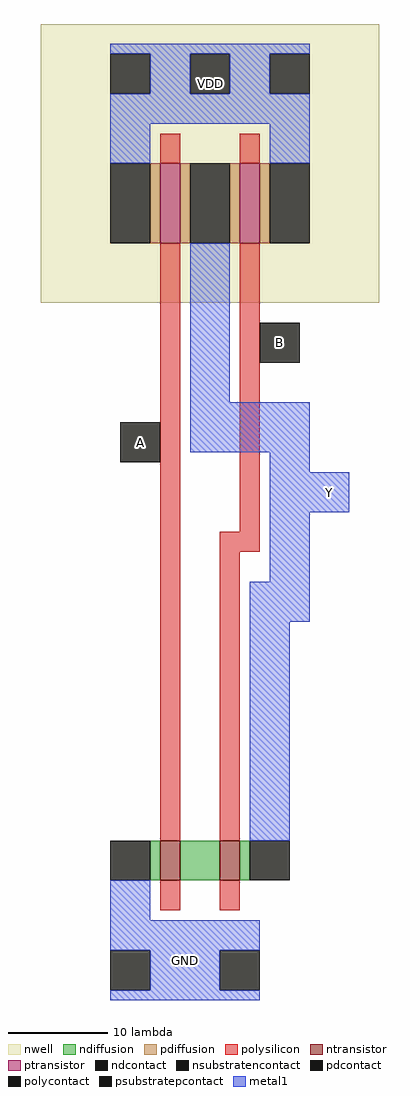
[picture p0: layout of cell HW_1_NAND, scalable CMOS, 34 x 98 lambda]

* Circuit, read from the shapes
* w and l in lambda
.subckt HW_1_NAND A B GND VDD Y
M1 n1 A GND GND nfet w=4 l=2
M2 Y B n1 GND nfet w=4 l=2
M3 Y A VDD VDD pfet w=8 l=2
M4 VDD B Y VDD pfet w=8 l=2
.ends

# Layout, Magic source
magic
tech scmos
<< nwell >>
rect -17 16 17 44
<< ntransistor >>
rect -5 -42 -3 -38
rect 1 -42 3 -38
<< ptransistor >>
rect -5 22 -3 30
rect 3 22 5 30
<< ndiffusion >>
rect -6 -42 -5 -38
rect -3 -42 1 -38
rect 3 -42 4 -38
<< pdiffusion >>
rect -6 22 -5 30
rect -3 22 -2 30
rect 2 22 3 30
rect 5 22 6 30
<< ndcontact >>
rect -10 -42 -6 -38
rect 4 -42 8 -38
<< pdcontact >>
rect -10 22 -6 30
rect -2 22 2 30
rect 6 22 10 30
<< psubstratepcontact >>
rect -10 -53 -6 -49
rect 1 -53 5 -49
<< nsubstratencontact >>
rect -10 37 -6 41
rect -2 37 2 41
rect 6 37 10 41
<< polysilicon >>
rect -5 30 -3 33
rect 3 30 5 33
rect -5 -38 -3 22
rect 3 -7 5 22
rect 1 -9 5 -7
rect 1 -38 3 -9
rect -5 -45 -3 -42
rect 1 -45 3 -42
<< polycontact >>
rect -9 0 -5 4
rect 5 10 9 14
<< metal1 >>
rect -10 41 10 42
rect -6 37 -2 41
rect 2 37 6 41
rect -10 34 10 37
rect -10 30 -6 34
rect 6 30 10 34
rect -2 6 2 22
rect -2 1 10 6
rect 6 -1 10 1
rect 6 -5 14 -1
rect 6 -12 10 -5
rect 4 -16 10 -12
rect 4 -38 8 -16
rect -10 -46 -6 -42
rect -10 -49 5 -46
rect -6 -53 1 -49
rect -10 -54 5 -53
<< labels >>
rlabel nwell -10 34 10 42 1 VDD
rlabel polycontact -9 0 -5 4 1 A
rlabel polycontact 5 10 9 14 1 B
rlabel metal1 10 -5 14 -1 7 Y
rlabel metal1 -10 -54 5 -46 1 GND
<< end >>
